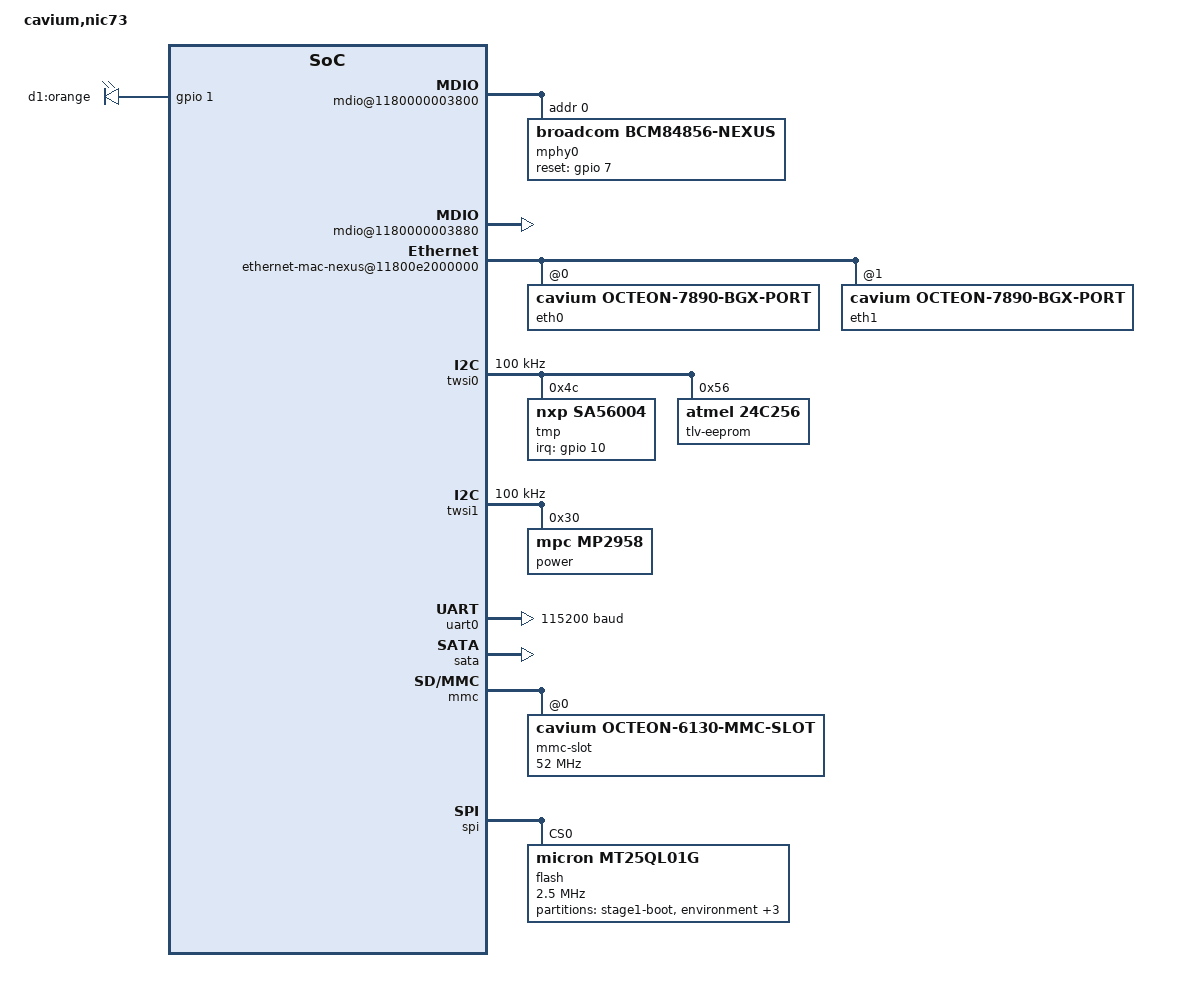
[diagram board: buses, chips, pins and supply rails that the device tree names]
/dts-v1/;
/*
 * Cavium Inc. NIC73 board
 */
/ {
	model = "cavium,nic73";
	compatible = "cavium,nic73";
	#address-cells = <2>;
	#size-cells = <2>;
	interrupt-parent = <&ciu3>;

	soc@0 {
		interrupt-parent = <&ciu3>;
		compatible = "simple-bus";
		#address-cells = <2>;
		#size-cells = <2>;
		ranges; /* Direct mapping */

		ciu3: interrupt-controller@1010000000000 {
			compatible = "cavium,octeon-7890-ciu3";
			interrupt-controller;
			/* Interrupts are specified by two parts:
			 * 1) Source number (20 significant bits)
			 * 2) Trigger type: (4 == level, 1 == edge)
			 */
			#address-cells = <0>;
			#interrupt-cells = <2>;
			reg = <0x10100 0x00000000 0x0 0xb0000000>;
		};

		bootbus: bootbus@1180000000000 {
			compatible = "cavium,octeon-3860-bootbus";
			reg = <0x11800 0x00000000 0x0 0x200>;
			/* The chip select number and offset */
			#address-cells = <2>;
			/* The size of the chip select region */
			#size-cells = <1>;
			/* NOTE: if the NOR flash is <= 2MB in size then the
			 * start address should be 0x20000000 - size and the
			 * size should be the actual NOR flash size.  Otherwise,
			 * if the NOR flash is >= 2MB in size the starting
			 * address should be 0x1fc00000 - size and the
			 * size should have 4MB added to the end.
			 */
			ranges = <0 0  0       0x1fb00000  0x500000>,
				 <1 0  0x10000 0x10000000  0>,
				 <2 0  0x10000 0x20000000  0>,
				 <3 0  0x10000 0x30000000  0>,
				 <4 0  0x10000 0x40000000  0>,
				 <5 0  0x10000 0x50000000  0>,
				 <6 0  0x10000 0x60000000  0>,
				 <7 0  0x10000 0x70000000  0>;

			cavium,cs-config@0 {
				compatible = "cavium,octeon-3860-bootbus-config";

				cavium,cs-index = <0>;
				cavium,t-adr  = <10>;
				cavium,t-ce   = <70>;
				cavium,t-oe   = <30>;
				cavium,t-we   = <35>;
				cavium,t-rd-hld = <25>;
				cavium,t-wr-hld = <10>;
				cavium,t-pause  = <30>;
				cavium,t-wait   = <60>;
				cavium,t-page   = <70>;
				cavium,t-rd-dly = <0>;

				cavium,page-mode = <0>;
				cavium,pages     = <0>;
				cavium,bus-width = <8>;
				cavium,board-trim = "4,nor-flash";
			};

			flash0: nor@0,0 {
				compatible = "cfi-flash";
				reg = <0 0 0x100000>;
				#address-cells = <1>;
				#size-cells = <1>;
				cavium,board-trim = "4,nor-flash";

				partition@0 {
					label = "unused";
					reg = <0 0x10000>;
				};
				partition@10000 {
					label = "optionrom";
					reg = <0x10000 0x10000>;
					read-only;
				};
				partition@20000 {
					label = "storage";
					reg = <0x20000 0xe0000>;
				};
			};
		};

		gpio: gpio-controller@1070000000800 {
			#gpio-cells = <2>;
			compatible = "cavium,octeon-7890-gpio";
			reg = <0x10700 0x00000800 0x0 0x100>;
			gpio-controller;
			/* Interrupts are specified by two parts:
			 * 1) GPIO pin number (0..15)
			 * 2) Triggering (1 - edge rising
			 *		  2 - edge falling
			 *		  4 - level active high
			 *		  8 - level active low)
			 */
			interrupt-controller;
			#interrupt-cells = <2>;
			/* The GPIO pins connect to 16 consecutive CUI bits */
			interrupts = <0x03000 4>, <0x03001 4>,
				     <0x03002 4>, <0x03003 4>,
				     <0x03004 4>, <0x03005 4>,
				     <0x03006 4>, <0x03007 4>,
				     <0x03008 4>, <0x03009 4>,
				     <0x0300a 4>, <0x0300b 4>,
				     <0x0300c 4>, <0x0300d 4>,
				     <0x0300e 4>, <0x0300f 4>;
		};


		mdio@1180000003800 {
			compatible = "cavium,octeon-3860-mdio";
			#address-cells = <1>;
			#size-cells = <0>;
			reg = <0x11800 0x00003800 0x0 0x40>;

			mphy0: ethernet-phy-nexus@0 {
				reg = <0>;
				compatible = "broadcom,bcm84856-nexus", "ethernet-phy-nexus";
				/* The BCM84856 is a dual phy where some
				 * configuration is common across both
				 * devices such as reset and the base MDIO
				 * address.
				 */

				/* Hardware reset signal (active low) */
				reset = <&gpio 7 8>;
				phy10: ethernet-phy@10 {
					reg = <10>;
					compatible = "broadcom,bcm84856", "ethernet-phy-ieee802.3-c45";
					broadcom,c45-reg-init =
						/* Do not advertise 1000Base-T and
						 * 100Base-TX capabilities.  Only
						 * 10GBase-T is supported.
						 */
						<7 0xffe4 0xfe7f 0x0000>,
						<7 0xffe9 0x0000 0x0000>,
						/* Set LED 1 for 10G link-up */
						<1 0xa82c 0 0x0080>,
						/* Set LED 2 for 100M/1G link-up */
						<1 0xa82f 0 0x0018>,
						/* Set LED 3 for RX activity */
						<1 0xa832 0 0x0002>,
						/* Set bit 15 to all TX/RX
						 * activity to be inputs to LED
						 */
						<1 0xa8ec 0x001f 0x8080>,
						/* Set LEDs 1 & 2 to solid on,
						 * LED 3 blink
						 */
						<1 0xa83b 0 0x4852>;
				};
				phy11: ethernet-phy@11 {
					reg = <11>;
					compatible = "broadcom,bcm84856", "ethernet-phy-ieee802.3-c45";
					broadcom,c45-reg-init =
						/* Do not advertise 1000Base-T and
						 * 100Base-TX capabilities.  Only
						 * 10GBase-T is supported.
						 */
						<7 0xffe4 0xfe7f 0x0000>,
						<7 0xffe9 0x0000 0x0000>,
						/* Set LED 1 for 10G link-up */
						<1 0xa82c 0 0x0080>,
						/* Set LED 2 for 100M/1G link-up */
						<1 0xa82f 0 0x0018>,
						/* Set LED 3 for RX activity */
						<1 0xa832 0 0x0002>,
						/* Set bit 15 to all TX/RX
						 * activity to be inputs to LED
						 */
						<1 0xa8ec 0x001f 0x8080>,
						/* Set LEDs 1 & 2 to solid on,
						 * LED 3 blink
						 */
						<1 0xa83b 0 0x4852>;
				};
			};
		};

		mdio@1180000003880 {
			compatible = "cavium,octeon-3860-mdio";
			#address-cells = <1>;
			#size-cells = <0>;
			reg = <0x11800 0x00003880 0x0 0x40>;
		};

		/* BGX definitions here must match board .c settings. */
		/* BGX 2*/
		ethernet-mac-nexus@11800e2000000 {
			compatible = "cavium,octeon-7890-bgx";
			reg = <0x11800 0xe2000000 0x0 0x1000000>;
			#address-cells = <1>;
			#size-cells = <0>;

			/* SerDes 0, may differ from PCS Lane/LMAC */
			eth0: ethernet-mac@0 {
				compatible = "cavium,octeon-7890-bgx-port";
				reg = <0>;
				local-mac-address = [ 00 00 00 00 00 00 ];
				phy-handle = <&phy10>;
			};
			/* SerDes 1, may differ from PCS Lane/LMAC */
			eth1: ethernet-mac@1 {
				compatible = "cavium,octeon-7890-bgx-port";
				reg = <1>;
				local-mac-address = [ 00 00 00 00 00 00 ];
				phy-handle = <&phy11>;
			};
		};

		twsi0: i2c@1180000001000 {
			#address-cells = <1>;
			#size-cells = <0>;
			compatible = "cavium,octeon-7890-twsi";
			reg = <0x11800 0x00001000 0x0 0x200>;
			/* INT_ST, INT_TS, INT_CORE */
			interrupts = <0x0b000 1>, <0x0b001 1>, <0x0b002 1>;
			clock-frequency = <100000>;

			tmp@4c {
				compatible = "nxp,sa56004";
				reg = <0x4c>;
				interrupt-parent = <&gpio>;
				interrupts = <10 8>;
			};
			tlv-eeprom@56 {
				compatible = "atmel,24c256";
				reg = <0x56>;
				pagesize = <64>;
			};
		};

		twsi1: i2c@1180000001200 {
			#address-cells = <1>;
			#size-cells = <0>;
			compatible = "cavium,octeon-7890-twsi";
			reg = <0x11800 0x00001200 0x0 0x200>;
			/* INT_ST, INT_TS, INT_CORE */
			interrupts = <0x0b100 1>, <0x0b101 1>, <0x0b102 1>;
			clock-frequency = <100000>;

			power@30 {
				compatible = "mpc,mp2958";
				reg = <0x30>;
			};
		};

		uart0: serial@1180000000800 {
			compatible = "cavium,octeon-3860-uart","ns16550";
			reg = <0x11800 0x00000800 0x0 0x400>;
			clock-frequency = <0>;
			current-speed = <115200>;
			reg-shift = <3>;
			interrupts = <0x08000 4>;
		};

		uctl@118006c000000 {
			compatible = "cavium,octeon-7130-sata-uctl";
			reg = <0x11800 0x6c000000 0x0 0x100>;
			ranges; /* Direct mapping */
			#address-cells = <2>;
			#size-cells = <2>;
			portmap = <0x3>;
			staggered-spinup;
			cavium,qlm-trim = "4,sata";

			sata: sata@16c0000000000 {
				compatible = "cavium,octeon-7130-ahci";
				reg = <0x16c00 0x00000000 0x0 0x200>;
				#address-cells = <2>;
				#size-cells = <2>;
				interrupts = <0x6c010 4>;
			};
		};

		mmc: mmc@1180000002000 {
			compatible = "cavium,octeon-7890-mmc",
				     "cavium,octeon-7360-mmc";
			reg = <0x11800 0x00002000 0x0 0x100>,
			<0x11800 0x00000180 0x0 0x20>;
			#address-cells = <1>;
			#size-cells = <0>;
			/* EMM_INT_BUF_DONE,
			 * EMM_INT_CMD_DONE,
			 * EMM_INT_DMA_DONE,
			 * EMM_INT_CMD_ERR,
			 * EMM_INT_DMA_ERR,
			 * EMM_INT_SWITCH_DONE,
			 * EMM_INT_SWITCH_ERR,
			 * EMM_DMA_DONE,
			 * EMM_DMA_FIFO
			 */
			interrupts = <0x09040 1>,
				     <0x09041 1>,
				     <0x09042 1>,
				     <0x09043 1>,
				     <0x09044 1>,
				     <0x09045 1>,
				     <0x09046 1>,
				     <0x09000 1>,
				     <0x09001 1>;
			/* Power on GPIO 8, active high */
			power-gpios = <&gpio 8 0>;

			/* The board has one MMC slot */
			mmc-slot@0 {
				compatible = "cavium,octeon-6130-mmc-slot";
				reg = <0>;
				voltage-ranges = <3300 3300>;
				spi-max-frequency = <52000000>;
				non-removable;
				bus-width = <8>;
				/* bus width can be 1, 4 or 8 */
				cavium,bus-max-width = <8>;
			};
		};

		spi: spi@1070000001000 {
			compatible = "cavium,octeon-3010-spi";
			reg = <0x10700 0x00001000 0x0 0x100>;
			interrupts = <0x05001 1>;
			#address-cells = <1>;
			#size-cells = <0>;
			spi-max-frequency = <25000000>;

			flash@0 {
				compatible = "micron,mt25ql01g","spi-flash";
				reg = <0>;
				spi-max-frequency = <2500000>;
				#address-cells = <1>;
				#size-cells = <1>;

				pagesize = <256>;
				erasesize = <4096>;
				size = <0x1000000>;
				address-width = <32>;
				cavium,pcm-trim = "0,not-pcm";

				partition@0 {
					label = "stage1-boot";
					/* Only 8K is used for now */
					reg = <0 0xe000>;
					read-only;
				};
				partition@1 {
					label = "environment";
					reg = <0xe000 0x2000>;
					read-only;
				};
				partition@2 {
					label = "u-boot";
					reg = <0x10000 0x3f0000>;
					read-only;
				};
				partition@3 {
					label = "other-12MB";
					reg = <0x400000 0xc00000>;
				};
				partition@4 {
					label = "other-112MB";
					reg = <0x1000000 0x7000000>;
				};
			};
		};

		ocla0@11800A8000000 {
			compatible = "cavium,octeon-7130-ocla";
			reg = <0x11800 0xa8000000 0x0 0x500000>;
			interrupts = <0xa800c 1>, /* Fsm0 */
				     <0xa800d 1>, /* Fsm1 */
				     <0xa800f 1>; /* Trigfull */
		};

		ocla1@11800A9000000 {
			compatible = "cavium,octeon-7130-ocla";
			reg = <0x11800 0xa9000000 0x0 0x500000>;
			interrupts = <0xa900c 1>, /* Fsm0 */
				     <0xa900d 1>, /* Fsm1 */
				     <0xa900f 1>; /* Trigfull */
		};

		ocla2@11800AA000000 {
			compatible = "cavium,octeon-7130-ocla";
			reg = <0x11800 0xaa000000 0x0 0x500000>;
			interrupts = <0xaa00c 1>, /* Fsm0 */
				     <0xaa00d 1>, /* Fsm1 */
				     <0xaa00f 1>; /* Trigfull */
		};

		leds: leds {
			compatible = "gpio-leds";
			d1_led: d1 {
				label = "d1:orange";
				gpios = <&gpio 1 0>;
				linux,default-trigger = "input";
				default-state = "keep";
			};
		};
	};
};
